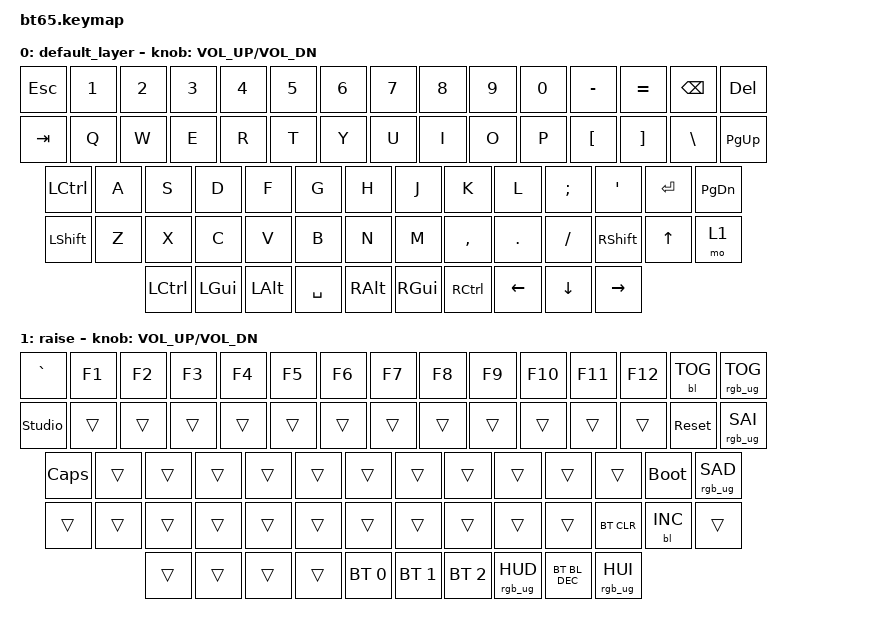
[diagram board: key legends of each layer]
#include <behaviors.dtsi>
#include <dt-bindings/zmk/keys.h>
#include <dt-bindings/zmk/bt.h>
#include <dt-bindings/zmk/rgb.h>
#include <dt-bindings/zmk/backlight.h>
#include <dt-bindings/zmk/ext_power.h>


/ {
	keymap {
		compatible = "zmk,keymap";

		default_layer {
				// ------------------------------------------------------------------------------------------------------------
				// |  `  |  1  |  2  |  3  |  4  |  5  |  6  |  7  |  8  |  9  |  0  |  -  |  =  |	BKSP   | DEL	|
				// | TAB  |  Q  |  W  |  E  |  R  |  T  |  Y  |  U  |  I  |  O  |  P  |  [  |  ]  |   \    | PGUP	|
				// | CAPS  |  A  |  S  |  D  |  F  |  G  |  H  |  J  |  K  |  L  |  ;  |  '  |    ENTER    |PGDN	|
				// |  SHIFT  |  Z  |  X  |  C  |  V  |  B  |  N  |  M  |  ,  |  .  | /   |   SHIFT  |  UP  |   1 	|
				// |  CTL  |  WIN  |  ALT  |            SPACE              | ALT | WIN | MENU| LEFT | DOWN | RIGHT	|
				// ------------------------------------------------------------------------------------------------------------
			bindings = <

				&kp ESC &kp N1 &kp N2 &kp N3 &kp N4 &kp N5 &kp N6 &kp N7 &kp  N8   &kp  N9   &kp N0 &kp MINUS &kp EQUAL &kp BKSP &kp DEL
				&kp TAB  &kp Q  &kp W  &kp E  &kp R  &kp T  &kp Y  &kp U  &kp  I    &kp  O  &kp  P   &kp LBKT &kp RBKT  &kp BSLH &kp PG_UP
				&kp LCTL  &kp A  &kp S  &kp D  &kp F  &kp G  &kp H  &kp J  &kp  K    &kp  L  &kp SEMI &kp SQT           &kp RET  &kp PG_DN
				&kp LSHFT &kp Z  &kp X  &kp C  &kp V  &kp B  &kp N  &kp M  &kp COMMA &kp DOT &kp FSLH   &kp RSHFT 		&kp UP 	 &mo 1
				&kp LCTRL &kp LGUI &kp LALT            &kp SPACE                  &kp RALT  &kp RGUI &kp RCTRL &kp LEFT &kp DOWN &kp RIGHT
			>;
			sensor-bindings = <&inc_dec_kp C_VOL_UP C_VOL_DN>;
		};
		raise {
			bindings = <
				&kp GRAVE &kp F1 &kp F2 &kp F3 &kp F4 &kp F5 &kp F6 &kp F7 &kp  F8   &kp  F9   &kp F10  &kp F11 &kp F12 &bl BL_TOG &rgb_ug RGB_TOG
				&studio_unlock &trans &trans &trans &trans &trans &trans &trans &trans &trans &trans &trans &trans &sys_reset &rgb_ug RGB_SAI
				&kp CAPS   &trans &trans &trans &trans &trans &trans &trans &trans &trans &trans  &trans   &bootloader &rgb_ug RGB_SAD
				&trans &trans &trans &trans &trans &trans &trans &trans &trans &trans &trans  &bt BT_CLR &bl BL_INC &trans
				&trans &trans  &trans              &trans                            &bt BT_SEL 0   &bt BT_SEL 1  &bt BT_SEL 2 &rgb_ug RGB_HUD &bt BL_DEC &rgb_ug RGB_HUI
			>;
			sensor-bindings = <&inc_dec_kp C_VOL_UP C_VOL_DN>;
		};
	};
};
